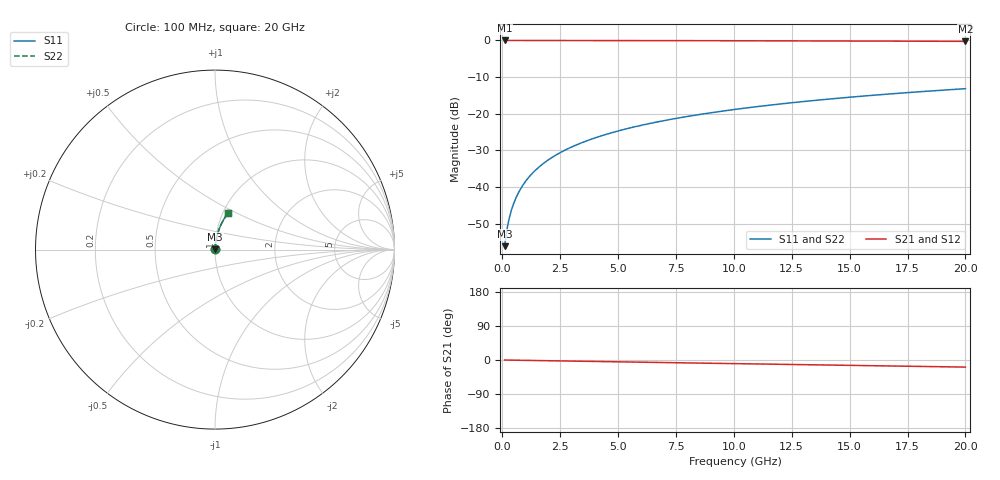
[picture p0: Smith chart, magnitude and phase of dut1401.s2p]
! Touchstone file exported from HFSS 2026.1.0
!  File:  C:/ffzhzh/LocalFiles/Ansys_Project_Files/temp_train_TMRDL_1401_1783166353_22436.aedt
!  Generated:  08:00:22 PM Jul  4, 2026
!  Design:  TMRDL
!  Project:  temp_train_TMRDL_1401_1783166353_22436
! Variables:
!  h_bsmrdl = 2um
!  h_ox = 20um
!  h_rdl = 5um
!  h_sub = 80um
!  h_tmrdl = 4.74um
!  h_tsv = 80um
!  h_via = 3um
!  l_bsmrdl = 300um
!  l_sub = 605.16um
!  l_tmrdl = 205.16um
!  m_sub = 200um
!  pitch = 58.4um
!  r_tsv = 6um
!  s_tmrdl = 10um
!  w_bsmrdl = 18um
!  w_sub = 500um
!  w_tmrdl = 18.98um
!  x_tsv_center1 = 214.65um
!  x_tsv_center2 = 532.65um
!  x_tsv_center3 = 756.79um
!  x_tsv_center4 = 1074.79um
!  x_tsv_center5 = 1298.93um
!  x_tsv_center6 = 1616.93um
# GHz S MA R 50.000000
! Terminal data exported
! Port[1] = TM_RDL1_1_T1
! Port[2] = TM_RDL1_1_T2
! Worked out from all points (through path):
!   200 points, 100 MHz to 20 GHz, reference 50 ohm
!   highest |S21| = -0.01 dB at 100 MHz (marker M1); lowest = -0.3 dB at 20 GHz (marker M2)
!   group delay of S21, straight-line fit = 2.6 ps
!   lowest |S11| = -56.1 dB at 100 MHz (marker M3), VSWR 1.00, Z = 50.1 + j0.124 ohm
!   |S11| at or under -10 dB: start of sweep to end of sweep
!   |S22| runs from -56.1 to -13.2 dB; largest |S21 - S12| = 2e-15
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0.1  0.001561 52.3  0.999 -0.1  0.999 -0.1  0.001561 52.3
! Gamma 0 0 0 0
! Port Impedance 50 0 50 0
0.2  0.002636 67.6  0.999 -0.2  0.999 -0.2  0.002636 67.6
0.3  0.003768 73.9  0.999 -0.3  0.999 -0.3  0.003768 73.9
0.4  0.004914 77.2  0.9989 -0.4  0.9989 -0.4  0.004914 77.2
0.5  0.006069 79.3  0.9989 -0.5  0.9989 -0.5  0.006069 79.3
0.7  0.008395 81.8  0.9988 -0.7  0.9988 -0.7  0.008395 81.8
0.8  0.009562 82.5  0.9988 -0.8  0.9988 -0.8  0.009562 82.5
1  0.0119 83.5  0.9988 -1.0  0.9988 -1.0  0.0119 83.5
1.2  0.01425 84.1  0.9987 -1.2  0.9987 -1.2  0.01425 84.1
1.4  0.01659 84.4  0.9986 -1.4  0.9986 -1.4  0.01659 84.4
1.7  0.0201 84.7  0.9985 -1.7  0.9985 -1.7  0.0201 84.7
2  0.02361 84.8  0.9984 -2.0  0.9984 -2.0  0.02361 84.8
2.7  0.03176 84.7  0.998 -2.6  0.998 -2.6  0.03176 84.7
3.5  0.04101 84.2  0.9974 -3.4  0.9974 -3.4  0.04101 84.2
4.2  0.04905 83.7  0.9969 -4.1  0.9969 -4.1  0.04905 83.7
5  0.05817 83.0  0.9962 -4.8  0.9962 -4.8  0.05817 83.1
6.8  0.07849 81.6  0.9943 -6.6  0.9943 -6.6  0.07849 81.6
8.3  0.09524 80.3  0.9925 -8.0  0.9925 -8.0  0.09524 80.3
10.1  0.1151 78.7  0.9901 -9.7  0.9901 -9.7  0.1151 78.7
13.4  0.1509 75.8  0.9848 -12.7  0.9848 -12.7  0.1509 75.8
16.7  0.1858 73.0  0.9784 -15.8  0.9784 -15.8  0.1858 73.0
20  0.2197 70.1  0.971 -18.7  0.971 -18.7  0.2197 70.1
